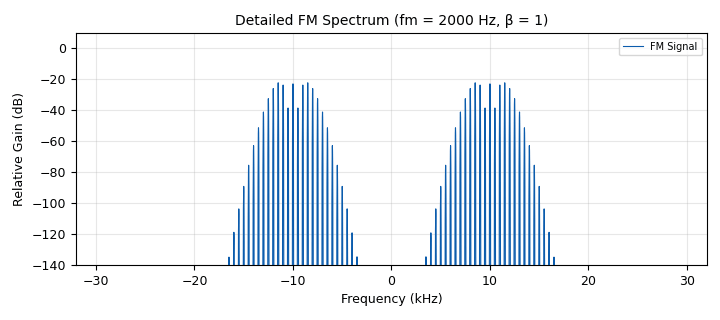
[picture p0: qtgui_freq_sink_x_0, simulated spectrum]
options:
  parameters:
    author: Dhrubjun
    generate_options: qt_gui
    id: exp2
    output_language: python
    title: Exploring FM Sidebands
  states: {}

blocks:
- name: fc
  id: variable
  parameters:
    value: '10000'
  states: {}
- name: fm
  id: variable_qtgui_range
  parameters:
    label: |
      Message Frequency (Hz)
    start: '250'
    step: '250'
    stop: '2000'
    value: '500'
  states: {}
- name: freq_dev
  id: variable_qtgui_range
  parameters:
    label: Frequency Deviation (Hz)
    start: '0'
    step: '250'
    stop: '5000'
    value: '2000'
  states: {}
- name: samp_rate
  id: variable
  parameters:
    value: '64000'
  states: {}
- name: analog_sig_source_x_0
  id: analog_sig_source_x
  parameters:
    amp: '1'
    freq: fm
    offset: '0'
    phase: '0'
    samp_rate: samp_rate
    type: float
    waveform: analog.GR_COS_WAVE
  states: {}
- name: blocks_add_const_vxx_0
  id: blocks_add_const_vxx
  parameters:
    const: fc
    type: float
  states: {}
- name: blocks_multiply_const_vxx_0
  id: blocks_multiply_const_vxx
  parameters:
    const: freq_dev
    type: float
  states: {}
- name: blocks_throttle2_0
  id: blocks_throttle2
  parameters:
    samples_per_second: samp_rate
    type: float
  states: {}
- name: blocks_vco_f_0
  id: blocks_vco_f
  parameters:
    amplitude: '1'
    samp_rate: samp_rate
    sensitivity: 2*pi
  states: {}
- name: import_0
  id: import
  parameters:
    imports: from math import pi
  states: {}
- name: qtgui_freq_sink_x_0
  id: qtgui_freq_sink_x
  parameters:
    bw: samp_rate
    fc: '0'
    fftsize: '4096'
    label1: FM Signal
    name: Detailed FM Spectrum (fm = 2000 Hz, β = 1)
    type: float
  states: {}

connections:
- [analog_sig_source_x_0, '0', blocks_multiply_const_vxx_0, '0']
- [blocks_add_const_vxx_0, '0', blocks_vco_f_0, '0']
- [blocks_multiply_const_vxx_0, '0', blocks_add_const_vxx_0, '0']
- [blocks_throttle2_0, '0', qtgui_freq_sink_x_0, '0']
- [blocks_vco_f_0, '0', blocks_throttle2_0, '0']

metadata:
  file_format: 1
  grc_version: 3.10.12.0
